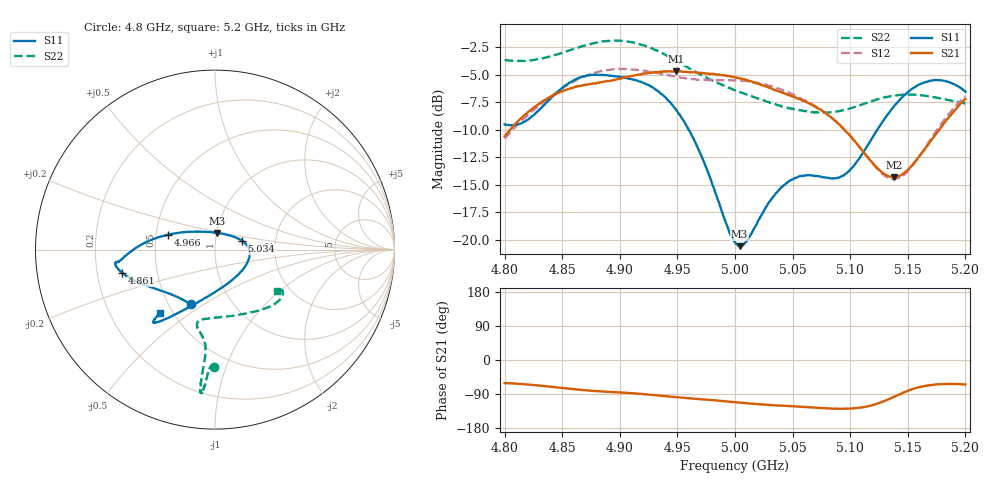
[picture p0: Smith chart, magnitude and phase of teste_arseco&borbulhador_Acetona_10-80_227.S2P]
! Network Analyzer HP8722D
! Hewlett-Packard
! Data name: Linha & Wilkinson
! Saver's name: Rodrigo Anjos
! Comments: Teste da utilização de aquisição
! continua pelo VNA HP8722D
! Time and date: 17/4/2025 16:15
!  Frequency  S11  S21  S12  S22
# HZ  S  MA R 50
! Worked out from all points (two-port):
!   401 points, 4.8 GHz to 5.2 GHz, reference 50 ohm
!   highest |S21| = -4.68 dB at 4.949 GHz (marker M1); lowest = -14.4 dB at 5.138 GHz (marker M2)
!   |S21| within 3 dB of the highest: 4.829 GHz to 5.065 GHz (236 MHz wide, 4.77 % of centre); 5.195415 GHz to end of sweep
!   lowest |S11| = -20.6 dB at 5.004 GHz (marker M3), VSWR 1.21, Z = 50.1 + j9.38 ohm
!   |S11| at or under -10 dB: 4.96 GHz to 5.124 GHz (163.8 MHz wide, 3.25 % of centre)
!   |S22| runs from -8.5 to -1.9 dB; largest |S21 - S12| = 0.87
!   S11 on the Smith chart (normalised r, x): 4.8 GHz: 0.64, -0.44; 4.861 GHz: 0.31, -0.11; 4.966 GHz: 0.58, +0.10; 5.034 GHz: 1.35, +0.14; 5.2 GHz: 0.42, -0.39
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4.8e9  0.3342 -113.9  0.2945 -61.0  0.288 -175.2  0.6555 -90.2
4.819e9  0.3484 -134.1  0.3736 -64.6  0.3634 -174.0  0.6508 -91.8
4.861e9  0.5335 -166.0  0.4932 -77.3  0.5278 -177.2  0.7388 -94.2
4.867e9  0.5485 -168.4  0.5018 -79.1  0.5451 -178.4  0.7562 -94.2
4.901e9  0.5483 -172.8  0.5401 -85.8  0.5964 175.0  0.8018 -95.8
4.934e9  0.4698 -178.7  0.5784 -93.9  0.5713 171.3  0.7142 -95.9
4.949e9  0.3885 174.1  0.5834 -97.9  0.5499 171.8  0.6496 -95.6
4.966e9  0.2734 162.2  0.5754 -102.3  0.5348 173.5  0.5772 -95.2
5e9  0.09734 98.4  0.5468 -111.5  0.5313 175.9  0.4777 -99.3
5.004e9  0.09334 84.0  0.5402 -112.5  0.5286 175.9  0.4692 -100.1
5.012e9  0.1019 57.4  0.5257 -114.7  0.5229 175.5  0.4529 -101.9
5.034e9  0.1585 18.1  0.4799 -119.6  0.4935 174.7  0.4136 -103.4
5.05e9  0.1876 2.2  0.4478 -122.1  0.4576 173.8  0.3935 -99.3
5.067e9  0.1952 -15.9  0.4093 -125.1  0.4123 173.6  0.3798 -90.2
5.087e9  0.19 -48.2  0.3461 -128.6  0.3456 173.6  0.3817 -75.1
5.097e9  0.2002 -68.5  0.3074 -128.6  0.3083 174.8  0.3909 -66.9
5.123e9  0.3129 -108.7  0.2127 -115.9  0.2111 -170.4  0.4339 -48.6
5.134e9  0.3789 -117.4  0.1935 -102.9  0.1897 -155.7  0.4478 -43.1
5.138e9  0.4039 -119.7  0.1916 -97.2  0.1887 -149.3  0.4511 -41.3
5.151e9  0.4722 -125.3  0.2101 -80.1  0.2072 -129.8  0.4566 -36.5
5.17e9  0.5278 -129.5  0.281 -66.0  0.2863 -112.2  0.447 -32.2
5.2e9  0.4705 -131.0  0.4355 -64.7  0.4477 -106.8  0.4154 -33.6
